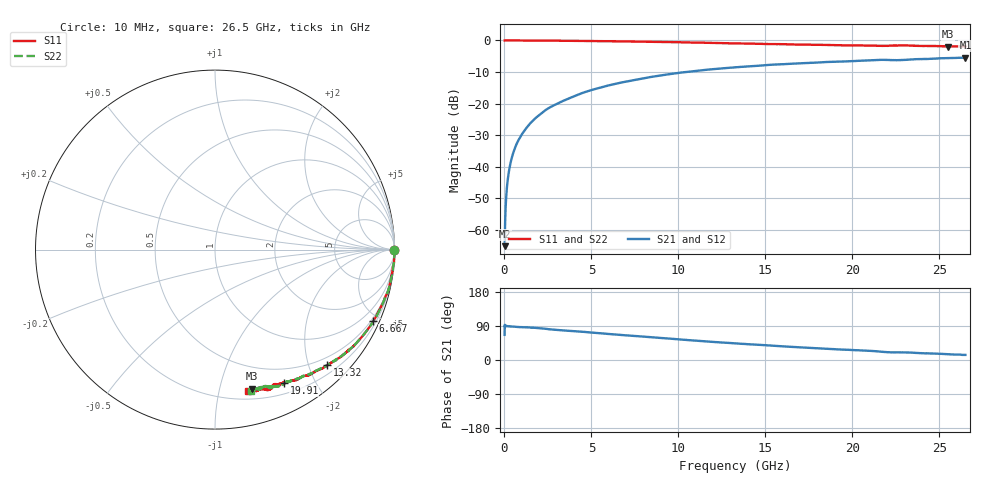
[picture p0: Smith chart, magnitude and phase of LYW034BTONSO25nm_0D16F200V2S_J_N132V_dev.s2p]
!Keysight Technologies,N5222B,MY61253708,A.15.00.15
!Date: Wednesday, June 19, 2024 09:58:34
!Correction: S11(C  2-Port  )
!S21(C  2-Port  )
!S12(C  2-Port  )
!S22(C  2-Port  )
!S2P File: Measurements: S11, S21, S12, S22:
# Hz S  RI  R 50
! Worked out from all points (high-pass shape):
!   2651 points, 10 MHz to 26.5 GHz, reference 50 ohm
!   highest |S21| = -5.40 dB at 26.5 GHz (marker M1); lowest = -65.1 dB at 10 MHz (marker M2)
!   |S21| within 3 dB of the highest: 13.52 GHz to end of sweep
!   lowest |S11| = -1.9 dB at 25.5 GHz (marker M3), VSWR 9.05, Z = 14.5 - j62.9 ohm
!   |S11| at or under -10 dB: nowhere
!   |S22| runs from -1.9 to 0.0 dB; largest |S21 - S12| = 0.0063
!   S11 on the Smith chart (normalised r, x): 10 MHz: open; 6.667 GHz: 0.37, -4.61; 13.32 GHz: 0.35, -2.32; 19.91 GHz: 0.32, -1.59; 26.5 GHz: 0.27, -1.23
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1e7  0.9987 -0.0029  0.000224 0.000508  1.25e-05 0.000372  0.9985 -0.00146
7.997358e7  1 -0.00573  1.23e-05 0.00266  1.8e-06 0.00266  0.9993 -0.00526
1.599434e8  0.9999 -0.0113  5.61e-05 0.0053  4.98e-05 0.0053  0.9996 -0.0106
2.099245e8  0.9998 -0.0141  0.00011 0.00691  9.76e-05 0.00693  0.9994 -0.0135
2.699019e8  0.9998 -0.0183  0.000152 0.00885  0.000121 0.00894  0.9999 -0.0176
3.698642e8  0.9997 -0.0253  0.000329 0.0122  0.000309 0.0122  0.9994 -0.0244
4.998151e8  0.9988 -0.0335  0.000564 0.0164  0.00053 0.0165  0.9991 -0.0325
6.597547e8  0.9985 -0.0435  0.000918 0.0216  0.000885 0.0218  0.9986 -0.0427
8.596792e8  0.9981 -0.0568  0.00153 0.0281  0.00154 0.0283  0.9976 -0.0566
1.459453e9  0.9909 -0.0976  0.00357 0.048  0.00361 0.0482  0.9933 -0.0939
2.329125e9  0.9823 -0.1506  0.00977 0.0771  0.01 0.0776  0.9833 -0.1513
3.198796e9  0.9718 -0.2057  0.0207 0.103  0.0209 0.1035  0.9713 -0.2055
4.428332e9  0.9433 -0.279  0.0379 0.1407  0.0383 0.1415  0.9448 -0.2766
6.667487e9  0.8817 -0.399  0.0865 0.1961  0.0876 0.1967  0.8833 -0.399
8.846664e9  0.8055 -0.5001  0.1435 0.2358  0.145 0.2362  0.8064 -0.4992
1.3255e10  0.6307 -0.6408  0.2702 0.2606  0.2723 0.2602  0.6335 -0.6397
1.332497e10  0.6265 -0.6442  0.2729 0.2604  0.2743 0.2596  0.6285 -0.6414
1.767333e10  0.4595 -0.7214  0.3765 0.2336  0.3796 0.2317  0.4686 -0.719
1.991249e10  0.3837 -0.7441  0.4211 0.2099  0.4232 0.2065  0.3949 -0.7405
2.209166e10  0.3242 -0.7555  0.4595 0.1722  0.461 0.1689  0.3168 -0.7609
2.550038e10  0.205 -0.7743  0.5091 0.1361  0.5102 0.1352  0.2243 -0.7761
2.65e10  0.1854 -0.788  0.5224 0.1246  0.5217 0.1205  0.1981 -0.7858
